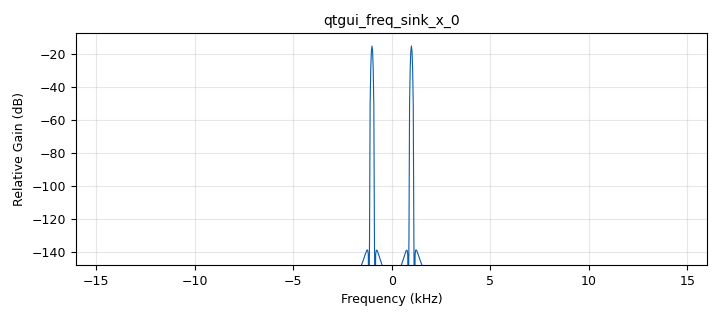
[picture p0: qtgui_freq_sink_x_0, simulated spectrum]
options:
  parameters:
    author: yabool2001
    copyright: maciej.zemlo@gmail.com
    generate_options: qt_gui
    id: tone_test
    output_language: python
    title: tone test
  states: {}

blocks:
- name: samp_rate
  id: variable
  parameters:
    value: '32000'
  states: {}
- name: analog_sig_source_x_0
  id: analog_sig_source_x
  parameters:
    amp: '1'
    freq: '1000'
    offset: '0'
    phase: '0'
    samp_rate: samp_rate
    type: float
    waveform: analog.GR_SIN_WAVE
  states: {}
- name: blocks_throttle2_0
  id: blocks_throttle2
  parameters:
    samples_per_second: samp_rate
    type: float
  states: {}
- name: qtgui_freq_sink_x_0
  id: qtgui_freq_sink_x
  parameters:
    autoscale: 'True'
    bw: samp_rate
    fc: '0'
    fftsize: '1024'
    type: float
  states: {}

connections:
- [analog_sig_source_x_0, '0', blocks_throttle2_0, '0']
- [blocks_throttle2_0, '0', qtgui_freq_sink_x_0, '0']

metadata:
  file_format: 1
  grc_version: 3.10.10.0
